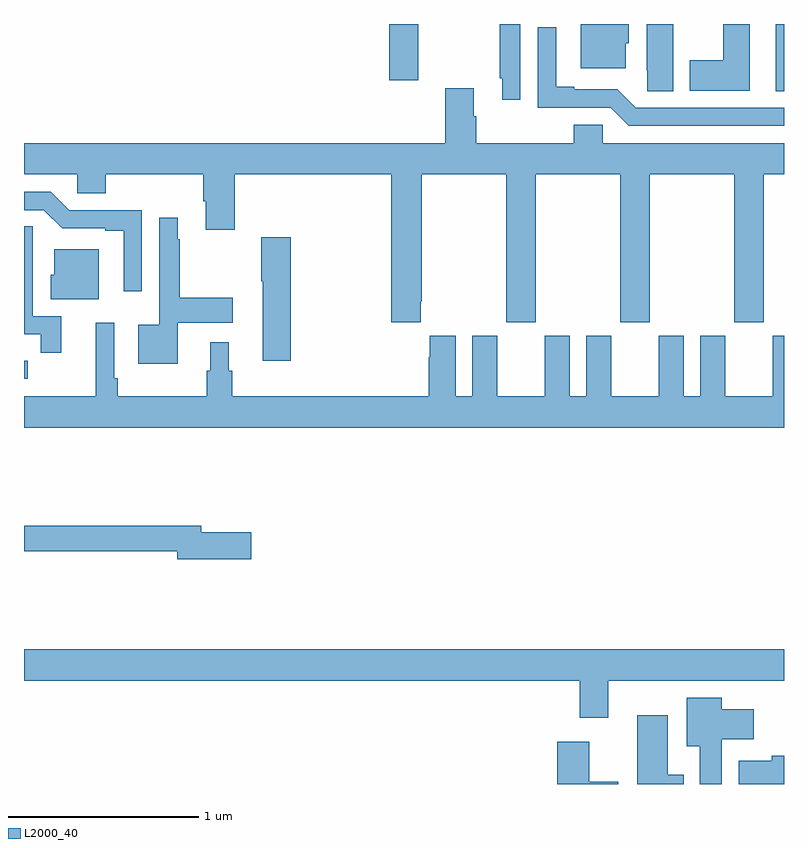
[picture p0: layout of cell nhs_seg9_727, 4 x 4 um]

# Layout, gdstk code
import gdstk
lib = gdstk.Library(unit=1e-6, precision=1e-09)
def R(c, l, rs):  # rectangles x0, y0, x1, y1
    for r in rs: c.add(gdstk.rectangle(r[:2], r[2:], *l))
def P(c, l, *ps):  # polygons
    for p in ps: c.add(gdstk.Polygon(p, *l))
L2000_40 = (2000, 40)

nhs_seg9_727 = lib.new_cell('nhs_seg9_727')
R(nhs_seg9_727, L2000_40, [(147,1240.632,147.019,1240.728), (150.956,1242.145,151,1242.5), (148.922,1242.204,149.076,1242.5)])
P(nhs_seg9_727, L2000_40, [(150.82,1242.5),(150.68,1242.5),(150.68,1242.309),(150.503,1242.309),(150.503,1242.149),(150.82,1242.149)],
  [(150.166,1242.399),(150.184,1242.399),(150.184,1242.5),(149.93,1242.5),(149.93,1242.266),(150.166,1242.266)],
  [(149.613,1242.5),(149.505,1242.5),(149.505,1242.214),(149.516,1242.214),(149.516,1242.102),(149.613,1242.102)],
  [(150.418,1242.5),(150.278,1242.5),(150.278,1242.256),(150.279,1242.256),(150.279,1242.145),(150.418,1242.145)],
  [(151,1242.06),(150.219,1242.06),(150.123,1242.156),(149.896,1242.156),(149.896,1242.169),(149.8,1242.169),(149.8,1242.484),(149.703,1242.484),(149.703,1242.06),(150.087,1242.06),(150.183,1241.964),(151,1241.964)],
  [(149.089,1241.041),(149.094,1241.041),(149.094,1241.708),(149.539,1241.708),(149.539,1240.929),(149.694,1240.929),(149.694,1241.708),(150.139,1241.708),(150.139,1240.929),(150.294,1240.929),(150.294,1241.708),(150.739,1241.708),(150.739,1240.929),(150.894,1240.929),(150.894,1241.708),(151,1241.708),(151,1241.872),(150.045,1241.872),(150.045,1241.97),(149.894,1241.97),(149.894,1241.872),(149.381,1241.872),(149.381,1242.014),(149.368,1242.014),(149.368,1242.163),(149.216,1242.163),(149.216,1241.872),(147,1241.872),(147,1241.708),(147.279,1241.708),(147.279,1241.61),(147.431,1241.61),(147.431,1241.708),(147.944,1241.708),(147.944,1241.566),(147.956,1241.566),(147.956,1241.418),(148.109,1241.418),(148.109,1241.708),(148.934,1241.708),(148.934,1240.929),(149.089,1240.929)],
  [(147.621,1241.52),(147.237,1241.52),(147.141,1241.616),(147,1241.616),(147,1241.52),(147.105,1241.52),(147.201,1241.424),(147.428,1241.424),(147.428,1241.412),(147.524,1241.412),(147.524,1241.094),(147.621,1241.094)],
  [(147.808,1240.928),(148.099,1240.928),(148.099,1241.058),(147.82,1241.058),(147.82,1241.366),(147.808,1241.366),(147.808,1241.479),(147.711,1241.479),(147.711,1240.918),(147.602,1240.918),(147.602,1240.712),(147.808,1240.712)],
  [(147.197,1240.962),(147.046,1240.962),(147.046,1241.324),(147.045,1241.324),(147.045,1241.435),(147,1241.435),(147,1240.866),(147.088,1240.866),(147.088,1240.77),(147.197,1240.77)],
  [(148.403,1241.377),(148.249,1241.377),(148.249,1241.146),(148.256,1241.146),(148.256,1240.728),(148.403,1240.728)],
  [(147.394,1241.314),(147.158,1241.314),(147.158,1241.181),(147.14,1241.181),(147.14,1241.051),(147.394,1241.051)],
  [(151,1240.858),(150.941,1240.858),(150.941,1240.54),(150.691,1240.54),(150.691,1240.858),(150.56,1240.858),(150.56,1240.54),(150.472,1240.54),(150.472,1240.858),(150.341,1240.858),(150.341,1240.54),(150.091,1240.54),(150.091,1240.858),(149.96,1240.858),(149.96,1240.54),(149.872,1240.54),(149.872,1240.858),(149.741,1240.858),(149.741,1240.54),(149.491,1240.54),(149.491,1240.858),(149.36,1240.858),(149.36,1240.54),(149.272,1240.54),(149.272,1240.858),(149.135,1240.858),(149.135,1240.745),(149.129,1240.745),(149.129,1240.54),(148.097,1240.54),(148.097,1240.674),(148.078,1240.674),(148.078,1240.825),(147.98,1240.825),(147.98,1240.674),(147.961,1240.674),(147.961,1240.54),(147.494,1240.54),(147.494,1240.636),(147.474,1240.636),(147.474,1240.927),(147.377,1240.927),(147.377,1240.54),(147,1240.54),(147,1240.376),(151,1240.376)],
  [(148.195,1239.824),(147.934,1239.824),(147.934,1239.86),(147,1239.86),(147,1239.724),(147.806,1239.724),(147.806,1239.682),(148.195,1239.682)],
  [(150.076,1239.044),(151,1239.044),(151,1239.208),(147,1239.208),(147,1239.044),(149.924,1239.044),(149.924,1238.85),(150.076,1238.85)],
  [(150.673,1238.735),(150.841,1238.735),(150.841,1238.893),(150.673,1238.893),(150.673,1238.953),(150.488,1238.953),(150.488,1238.699),(150.557,1238.699),(150.557,1238.5),(150.673,1238.5)],
  [(150.472,1238.548),(150.388,1238.548),(150.388,1238.863),(150.227,1238.863),(150.227,1238.5),(150.472,1238.5)],
  [(150.127,1238.511),(149.974,1238.511),(149.974,1238.722),(149.807,1238.722),(149.807,1238.5),(150.127,1238.5)],
  [(151,1238.65),(150.936,1238.65),(150.936,1238.623),(150.761,1238.623),(150.761,1238.5),(151,1238.5)])

lib.write_gds('nhs_seg9_727.gds')
